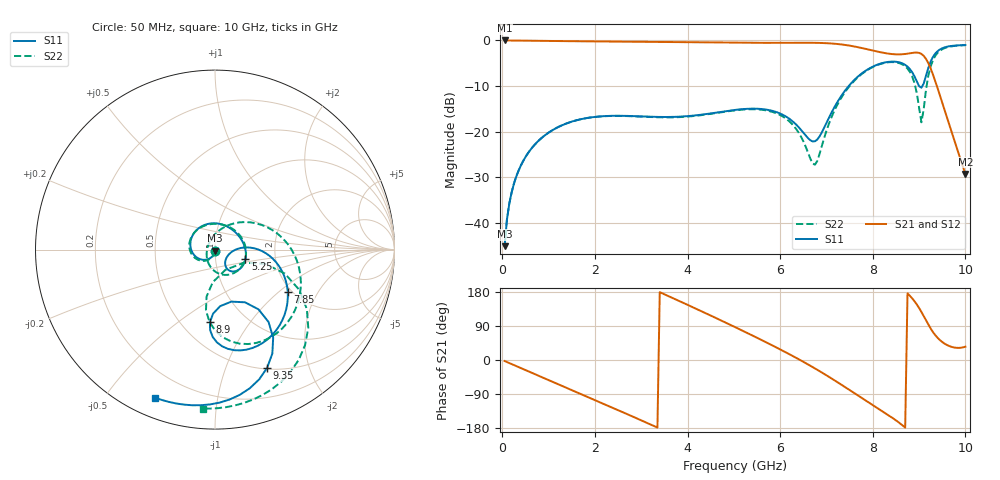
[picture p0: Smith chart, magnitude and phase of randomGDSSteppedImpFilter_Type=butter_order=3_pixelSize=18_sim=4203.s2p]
! freq	dB(S11)	phase(S11)	dB(S12)	phase(S12)
!  dB(S21)	phase(S21)	dB(S22)	phase(S22)
!S-par simulation data
#  GHz  S  DB  R 50
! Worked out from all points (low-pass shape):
!   200 points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, 50 MHz to 10 GHz, reference 50 ohm
!   highest |S21| = 0.00 dB at 50 MHz (marker M1); lowest = -29.3 dB at 10 GHz (marker M2)
!   |S21| within 3 dB of the highest: start of sweep to 8.438 GHz; 8.664 GHz to 9.057 GHz (393.3 MHz wide, 4.44 % of centre)
!   lowest |S11| = -45.0 dB at 50 MHz (marker M3), VSWR 1.01, Z = 50 - j0.56 ohm
!   |S11| at or under -10 dB: start of sweep to 7.479 GHz; 9 GHz to 9.069 GHz (68.8 MHz wide, 0.762 % of centre)
!   |S22| runs from -45.0 to -1.0 dB; largest |S21 - S12| = 0
!   S11 on the Smith chart (normalised r, x): 50 MHz: 1.00, -0.01; 5.25 GHz: 1.40, -0.16; 7.85 GHz: 1.91, -1.14; 8.9 GHz: 0.69, -0.66; 9.35 GHz: 0.52, -1.41; 10 GHz: 0.08, -0.67
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0.05  -45.04 -90.1  -0.00 -2.7  -0.00 -2.7  -45.03 -89.5
0.2  -33.33 -100.5  -0.02 -10.7  -0.02 -10.7  -33.31 -99.3
0.5  -25.53 -118.3  -0.05 -26.5  -0.05 -26.5  -25.52 -115.3
1.15  -19.26 -155.3  -0.12 -60.8  -0.12 -60.8  -19.26 -148.0
1.75  -17.13 170.5  -0.19 -92.4  -0.19 -92.4  -17.13 -177.5
2.65  -16.51 118.2  -0.27 -140.3  -0.27 -140.3  -16.55 138.7
3.4  -16.75 74.7  -0.32 179.0  -0.32 179.0  -16.83 100.6
4.35  -16.19 24.7  -0.41 125.9  -0.41 125.9  -16.29 45.3
5.05  -15.18 -8.5  -0.48 85.4  -0.48 85.4  -15.28 -0.3
5.25  -14.99 -17.8  -0.50 73.6  -0.50 73.6  -15.10 -13.8
6.15  -16.81 -55.0  -0.52 18.4  -0.52 18.4  -17.31 -80.2
6.7  -22.11 -34.5  -0.52 -18.6  -0.52 -18.6  -26.91 -175.7
7.3  -12.45 0.3  -0.85 -63.5  -0.85 -63.5  -12.90 42.7
7.85  -6.60 -30.0  -1.86 -107.0  -1.86 -107.0  -6.71 -8.1
8.35  -4.68 -62.7  -2.91 -146.6  -2.91 -146.6  -4.77 -49.5
8.65  -5.07 -82.5  -3.02 -173.3  -3.02 -173.3  -5.32 -75.3
8.9  -7.85 -94.0  -2.67 155.2  -2.67 155.2  -9.31 -98.4
9.05  -10.35 -72.5  -2.94 126.9  -2.94 126.9  -17.93 -62.7
9.2  -5.99 -53.5  -4.98 93.3  -4.98 93.3  -7.72 -18.9
9.35  -2.86 -66.2  -8.93 65.5  -8.93 65.5  -3.37 -40.0
9.6  -1.38 -88.3  -16.79 39.7  -16.79 39.7  -1.52 -67.7
10  -1.01 -112.0  -29.26 35.2  -29.26 35.2  -1.03 -94.4
